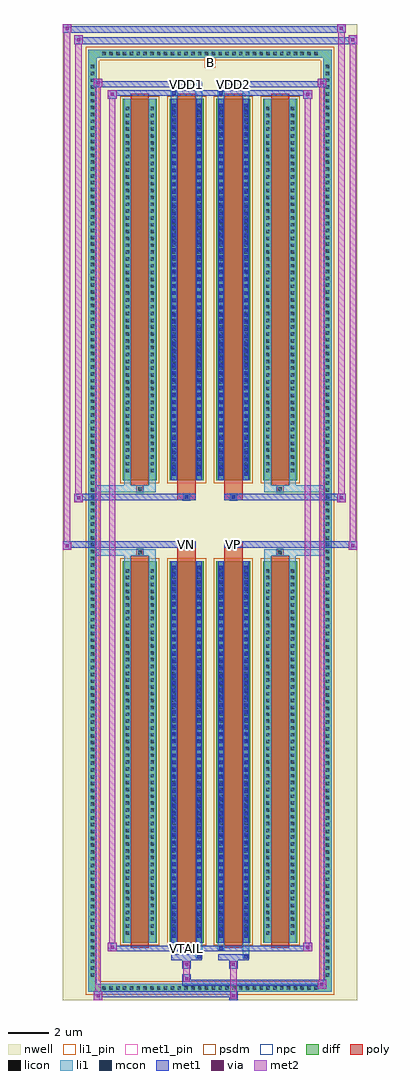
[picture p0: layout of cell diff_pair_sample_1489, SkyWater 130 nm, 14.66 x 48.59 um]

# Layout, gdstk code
import gdstk
lib = gdstk.Library(unit=1e-6, precision=5e-09)
def R(c, l, rs):  # rectangles x0, y0, x1, y1
    for r in rs: c.add(gdstk.rectangle(r[:2], r[2:], *l))
def A(c, l, x, y, w, h, nx, ny, dx, dy):  # array of equal rectangles
    R(c, l, [(x+i*dx, y+j*dy, x+i*dx+w, y+j*dy+h) for i in range(nx) for j in range(ny)])
def P(c, l, *ps):  # polygons
    for p in ps: c.add(gdstk.Polygon(p, *l))
nwell = (64, 20)
diff = (65, 20)
poly = (66, 20)
licon = (66, 44)
li1_pin = (67, 16)
li1 = (67, 20)
mcon = (67, 44)
met1_pin = (68, 16)
met1 = (68, 20)
via = (68, 44)
met2 = (69, 20)
psdm = (94, 20)
npc = (95, 20)

diff_pair_sample_1489 = lib.new_cell('diff_pair_sample_1489')
R(diff_pair_sample_1489, nwell, [(-7.33,-23.86,7.33,24.73), (-4.65,-22.05,-0.01,-0.825), (0.01,-22.05,4.65,-0.825), (-4.65,0.825,-0.01,22.05), (0.01,0.825,4.65,22.05)])
A(diff_pair_sample_1489, diff, -5.475, -23.46, 0.41, 0.41, 32, 2, 0.34, 46.51)
A(diff_pair_sample_1489, diff, -6.06, -22.815, 0.41, 0.41, 1, 134, 0, 0.34)
A(diff_pair_sample_1489, diff, 5.65, -22.815, 0.41, 0.41, 1, 134, 0, 0.34)
A(diff_pair_sample_1489, diff, -4.34, -21.005, 1.69, 19, 4, 2, 2.33, 23.01)
R(diff_pair_sample_1489, diff, [(-5.475,-23.46,5.475,-23.05), (-6.06,-22.815,-5.65,22.815), (5.65,-22.815,6.06,22.815), (-5.475,23.05,5.475,23.46)])
P(diff_pair_sample_1489, diff, [(6.06,23.46),(-6.06,23.46),(-6.06,-23.05),(-5.65,-23.05),(-5.65,23.05),(5.65,23.05),(5.65,-23.05),(-5.65,-23.05),(-6.06,-23.05),(-6.06,-23.46),(6.06,-23.46)])
A(diff_pair_sample_1489, poly, -3.95, -21.255, 0.91, 19.5, 4, 2, 2.33, 23.01)
R(diff_pair_sample_1489, poly, [(-3.66,-1.755,-3.33,-1.425), (-3.66,-1.755,-3.33,-1.425), (-1.62,-1.755,-0.71,-1.355), (0.71,-1.755,1.62,-1.355), (3.33,-1.755,3.66,-1.425), (3.33,-1.755,3.66,-1.425), (-1.62,-1.355,-0.71,-1.025), (-1.33,-1.355,-1,-1.025), (0.71,-1.355,1.62,-1.025), (1,-1.355,1.33,-1.025), (-1.62,1.025,-0.71,1.355), (-1.33,1.025,-1,1.355), (0.71,1.025,1.62,1.355), (1,1.025,1.33,1.355), (-1.62,1.355,-0.71,1.755), (0.71,1.355,1.62,1.755), (-3.66,1.425,-3.33,1.755), (-3.66,1.425,-3.33,1.755), (3.33,1.425,3.66,1.755), (3.33,1.425,3.66,1.755)])
A(diff_pair_sample_1489, licon, -5.355, -23.34, 0.17, 0.17, 32, 2, 0.34, 46.51)
A(diff_pair_sample_1489, licon, -5.94, -22.695, 0.17, 0.17, 1, 134, 0, 0.34)
A(diff_pair_sample_1489, licon, 5.77, -22.695, 0.17, 0.17, 1, 134, 0, 0.34)
A(diff_pair_sample_1489, licon, -4.2, -20.6, 0.17, 0.17, 1, 54, 0, 0.34)
A(diff_pair_sample_1489, licon, -2.96, -20.6, 0.17, 0.17, 1, 54, 0, 0.34)
A(diff_pair_sample_1489, licon, -1.87, -20.6, 0.17, 0.17, 1, 54, 0, 0.34)
A(diff_pair_sample_1489, licon, -0.63, -20.6, 0.17, 0.17, 1, 54, 0, 0.34)
A(diff_pair_sample_1489, licon, 0.46, -20.6, 0.17, 0.17, 1, 54, 0, 0.34)
A(diff_pair_sample_1489, licon, 1.7, -20.6, 0.17, 0.17, 1, 54, 0, 0.34)
A(diff_pair_sample_1489, licon, 2.79, -20.6, 0.17, 0.17, 1, 54, 0, 0.34)
A(diff_pair_sample_1489, licon, 4.03, -20.6, 0.17, 0.17, 1, 54, 0, 0.34)
A(diff_pair_sample_1489, licon, -4.2, 2.41, 0.17, 0.17, 1, 54, 0, 0.34)
A(diff_pair_sample_1489, licon, -2.96, 2.41, 0.17, 0.17, 1, 54, 0, 0.34)
A(diff_pair_sample_1489, licon, -1.87, 2.41, 0.17, 0.17, 1, 54, 0, 0.34)
A(diff_pair_sample_1489, licon, -0.63, 2.41, 0.17, 0.17, 1, 54, 0, 0.34)
A(diff_pair_sample_1489, licon, 0.46, 2.41, 0.17, 0.17, 1, 54, 0, 0.34)
A(diff_pair_sample_1489, licon, 1.7, 2.41, 0.17, 0.17, 1, 54, 0, 0.34)
A(diff_pair_sample_1489, licon, 2.79, 2.41, 0.17, 0.17, 1, 54, 0, 0.34)
A(diff_pair_sample_1489, licon, 4.03, 2.41, 0.17, 0.17, 1, 54, 0, 0.34)
R(diff_pair_sample_1489, licon, [(-3.58,-1.675,-3.41,-1.505), (3.41,-1.675,3.58,-1.505), (-1.25,-1.275,-1.08,-1.105), (1.08,-1.275,1.25,-1.105), (-1.25,1.105,-1.08,1.275), (1.08,1.105,1.25,1.275), (-3.58,1.505,-3.41,1.675), (3.41,1.505,3.58,1.675)])
R(diff_pair_sample_1489, li1_pin, [(-0.25,22.55,0.25,23.05)])
A(diff_pair_sample_1489, li1, -5.435, -23.42, 0.33, 0.33, 32, 2, 0.34, 46.51)
A(diff_pair_sample_1489, li1, -6.02, -22.775, 0.33, 0.33, 1, 134, 0, 0.34)
A(diff_pair_sample_1489, li1, 5.69, -22.775, 0.33, 0.33, 1, 134, 0, 0.34)
A(diff_pair_sample_1489, li1, -1.87, -20.77, 0.17, 0.17, 1, 52, 0, 0.36)
A(diff_pair_sample_1489, li1, -0.63, -20.77, 0.17, 0.17, 1, 52, 0, 0.36)
A(diff_pair_sample_1489, li1, 0.46, -20.77, 0.17, 0.17, 1, 52, 0, 0.36)
A(diff_pair_sample_1489, li1, 1.7, -20.77, 0.17, 0.17, 1, 52, 0, 0.36)
A(diff_pair_sample_1489, li1, -4.28, -20.68, 0.33, 0.33, 1, 54, 0, 0.34)
A(diff_pair_sample_1489, li1, -3.04, -20.68, 0.33, 0.33, 1, 54, 0, 0.34)
A(diff_pair_sample_1489, li1, -1.95, -20.68, 0.33, 0.33, 1, 54, 0, 0.34)
A(diff_pair_sample_1489, li1, -0.71, -20.68, 0.33, 0.33, 1, 54, 0, 0.34)
A(diff_pair_sample_1489, li1, 0.38, -20.68, 0.33, 0.33, 1, 54, 0, 0.34)
A(diff_pair_sample_1489, li1, 1.62, -20.68, 0.33, 0.33, 1, 54, 0, 0.34)
A(diff_pair_sample_1489, li1, 2.71, -20.68, 0.33, 0.33, 1, 54, 0, 0.34)
A(diff_pair_sample_1489, li1, 3.95, -20.68, 0.33, 0.33, 1, 54, 0, 0.34)
A(diff_pair_sample_1489, li1, -1.87, 2.24, 0.17, 0.17, 1, 52, 0, 0.36)
A(diff_pair_sample_1489, li1, -0.63, 2.24, 0.17, 0.17, 1, 52, 0, 0.36)
A(diff_pair_sample_1489, li1, 0.46, 2.24, 0.17, 0.17, 1, 52, 0, 0.36)
A(diff_pair_sample_1489, li1, 1.7, 2.24, 0.17, 0.17, 1, 52, 0, 0.36)
A(diff_pair_sample_1489, li1, -4.28, 2.33, 0.33, 0.33, 1, 54, 0, 0.34)
A(diff_pair_sample_1489, li1, -3.04, 2.33, 0.33, 0.33, 1, 54, 0, 0.34)
A(diff_pair_sample_1489, li1, -1.95, 2.33, 0.33, 0.33, 1, 54, 0, 0.34)
A(diff_pair_sample_1489, li1, -0.71, 2.33, 0.33, 0.33, 1, 54, 0, 0.34)
A(diff_pair_sample_1489, li1, 0.38, 2.33, 0.33, 0.33, 1, 54, 0, 0.34)
A(diff_pair_sample_1489, li1, 1.62, 2.33, 0.33, 0.33, 1, 54, 0, 0.34)
A(diff_pair_sample_1489, li1, 2.71, 2.33, 0.33, 0.33, 1, 54, 0, 0.34)
A(diff_pair_sample_1489, li1, 3.95, 2.33, 0.33, 0.33, 1, 54, 0, 0.34)
R(diff_pair_sample_1489, li1, [(-6.06,-23.46,-5.65,-23.05), (-6.06,-23.46,-5.65,-23.05), (-5.65,-23.46,5.65,-23.05), (5.65,-23.46,6.06,-23.05), (5.65,-23.46,6.06,-23.05), (-6.06,-23.05,-5.65,23.05), (5.65,-23.05,6.06,23.05), (-0.71,-21.81,-0.38,-21.005), (-0.63,-21.81,-0.46,-21.64), (1.62,-21.81,1.95,-21.005), (1.7,-21.81,1.87,-21.64), (-1.95,-21.38,-1.62,-21.005), (-1.87,-21.38,-1.7,-21.21), (0.38,-21.38,0.71,-21.005), (0.46,-21.38,0.63,-21.21), (-4.28,-21.005,-3.95,-2.005), (-3.04,-21.005,-2.71,-2.005), (-1.95,-21.005,-1.62,-2.005), (-0.71,-21.005,-0.38,-2.005), (0.38,-21.005,0.71,-2.005), (1.62,-21.005,1.95,-2.005), (2.71,-21.005,3.04,-2.005), (3.95,-21.005,4.28,-2.005), (-1.87,-20.77,-1.7,-2.24), (-0.63,-20.77,-0.46,-2.24), (0.46,-20.77,0.63,-2.24), (1.7,-20.77,1.87,-2.24), (-4.28,-2.005,-3.95,-1.425), (-3.04,-2.005,-2.71,-1.425), (2.71,-2.005,3.04,-1.425), (3.95,-2.005,4.28,-1.425), (-6.06,-1.755,-3.66,-1.425), (-4.28,-1.755,-3.66,-1.425), (-3.66,-1.755,-3.33,-1.425), (-3.33,-1.755,-2.71,-1.425), (2.71,-1.755,3.33,-1.425), (3.33,-1.755,3.66,-1.425), (3.33,-1.755,6.06,-1.425), (3.66,-1.755,4.28,-1.425), (-1.33,-1.355,-1,-1.025), (1,-1.355,1.33,-1.025), (-1.33,1.025,-1,1.355), (1,1.025,1.33,1.355), (-6.06,1.425,-3.66,1.755), (-4.28,1.425,-3.66,1.755), (-4.28,1.425,-3.95,2.005), (-3.66,1.425,-3.33,1.755), (-3.33,1.425,-2.71,1.755), (-3.04,1.425,-2.71,2.005), (2.71,1.425,3.33,1.755), (2.71,1.425,3.04,2.005), (3.33,1.425,3.66,1.755), (3.33,1.425,6.06,1.755), (3.66,1.425,4.28,1.755), (3.95,1.425,4.28,2.005), (-4.28,2.005,-3.95,21.005), (-3.04,2.005,-2.71,21.005), (-1.95,2.005,-1.62,21.005), (-0.71,2.005,-0.38,21.005), (0.38,2.005,0.71,21.005), (1.62,2.005,1.95,21.005), (2.71,2.005,3.04,21.005), (3.95,2.005,4.28,21.005), (-1.87,2.24,-1.7,20.77), (-0.63,2.24,-0.46,20.77), (0.46,2.24,0.63,20.77), (1.7,2.24,1.87,20.77), (-1.95,21.005,-1.62,21.38), (-0.71,21.005,-0.38,21.81), (0.38,21.005,0.71,21.38), (1.62,21.005,1.95,21.81), (-1.87,21.21,-1.7,21.38), (0.46,21.21,0.63,21.38), (-0.63,21.64,-0.46,21.81), (1.7,21.64,1.87,21.81), (-6.06,23.05,-5.65,23.46), (-6.06,23.05,-5.65,23.46), (-5.65,23.05,5.65,23.46), (5.65,23.05,6.06,23.46), (5.65,23.05,6.06,23.46)])
A(diff_pair_sample_1489, mcon, -1.87, -20.77, 0.17, 0.17, 1, 52, 0, 0.36)
A(diff_pair_sample_1489, mcon, -0.63, -20.77, 0.17, 0.17, 1, 52, 0, 0.36)
A(diff_pair_sample_1489, mcon, 0.46, -20.77, 0.17, 0.17, 1, 52, 0, 0.36)
A(diff_pair_sample_1489, mcon, 1.7, -20.77, 0.17, 0.17, 1, 52, 0, 0.36)
A(diff_pair_sample_1489, mcon, -1.87, 2.24, 0.17, 0.17, 1, 52, 0, 0.36)
A(diff_pair_sample_1489, mcon, -0.63, 2.24, 0.17, 0.17, 1, 52, 0, 0.36)
A(diff_pair_sample_1489, mcon, 0.46, 2.24, 0.17, 0.17, 1, 52, 0, 0.36)
A(diff_pair_sample_1489, mcon, 1.7, 2.24, 0.17, 0.17, 1, 52, 0, 0.36)
R(diff_pair_sample_1489, mcon, [(-0.63,-21.81,-0.46,-21.64), (1.7,-21.81,1.87,-21.64), (-1.87,-21.38,-1.7,-21.21), (0.46,-21.38,0.63,-21.21), (-1.25,-1.275,-1.08,-1.105), (1.08,-1.275,1.25,-1.105), (-1.25,1.105,-1.08,1.275), (1.08,1.105,1.25,1.275), (-1.87,21.21,-1.7,21.38), (0.46,21.21,0.63,21.38), (-0.63,21.64,-0.46,21.81), (1.7,21.64,1.87,21.81)])
R(diff_pair_sample_1489, met1_pin, [(-1.3,-21.42,-1.03,-21.15), (-1.3,-1.295,-1.03,-1.025), (1.03,-1.295,1.3,-1.025), (-1.3,21.6,-1.03,21.87), (1.03,21.6,1.3,21.87)])
A(diff_pair_sample_1489, met1, -1.93, -20.83, 0.29, 0.29, 1, 52, 0, 0.36)
A(diff_pair_sample_1489, met1, -0.69, -20.83, 0.29, 0.29, 1, 52, 0, 0.36)
A(diff_pair_sample_1489, met1, 0.4, -20.83, 0.29, 0.29, 1, 52, 0, 0.36)
A(diff_pair_sample_1489, met1, 1.64, -20.83, 0.29, 0.29, 1, 52, 0, 0.36)
A(diff_pair_sample_1489, met1, -1.93, 2.18, 0.29, 0.29, 1, 52, 0, 0.36)
A(diff_pair_sample_1489, met1, -0.69, 2.18, 0.29, 0.29, 1, 52, 0, 0.36)
A(diff_pair_sample_1489, met1, 0.4, 2.18, 0.29, 0.29, 1, 52, 0, 0.36)
A(diff_pair_sample_1489, met1, 1.64, 2.18, 0.29, 0.29, 1, 52, 0, 0.36)
R(diff_pair_sample_1489, met1, [(-5.79,-23.86,-5.36,-23.43), (0.95,-23.86,1.38,-23.43), (-5.79,-23.72,1.38,-23.43), (5.36,-23.29,5.79,-22.86), (-1.38,-23.15,5.79,-22.86), (-1.38,-23.01,-0.95,-22.58), (-1.38,-22.3,-0.95,-21.87), (0.95,-22.3,1.38,-21.87), (-1.93,-21.87,-0.4,-21.58), (-0.69,-21.87,-0.4,-21.58), (0.4,-21.87,1.93,-21.58), (1.64,-21.87,1.93,-21.58), (-5.08,-21.44,-4.65,-21.01), (-5.08,-21.44,-1.93,-21.15), (-1.93,-21.44,-1.64,-21.15), (-1.93,-21.44,-0.4,-21.15), (-0.4,-21.44,0.4,-21.15), (0.4,-21.44,0.69,-21.15), (0.4,-21.44,1.93,-21.15), (1.93,-21.44,5.08,-21.15), (4.65,-21.44,5.08,-21.01), (-1.93,-21.005,-1.64,-2.005), (-0.69,-21.005,-0.4,-2.005), (0.4,-21.005,0.69,-2.005), (1.64,-21.005,1.93,-2.005), (-7.33,-1.455,-6.9,-1.025), (6.9,-1.455,7.33,-1.025), (-7.33,-1.355,-0.71,-1.025), (-1.62,-1.355,-0.71,-1.025), (0.71,-1.355,1.62,-1.025), (0.71,-1.355,7.33,-1.025), (-1.31,-1.335,-1.02,-1.045), (1.02,-1.335,1.31,-1.045), (-6.76,0.925,-6.33,1.355), (6.33,0.925,6.76,1.355), (-6.76,1.025,-1.62,1.355), (-1.62,1.025,-0.71,1.355), (0.71,1.025,1.62,1.355), (1.62,1.025,6.76,1.355), (-1.31,1.045,-1.02,1.335), (1.02,1.045,1.31,1.335), (-1.93,2.005,-1.64,21.005), (-0.69,2.005,-0.4,21.005), (0.4,2.005,0.69,21.005), (1.64,2.005,1.93,21.005), (-5.08,21.01,-4.65,21.44), (4.65,21.01,5.08,21.44), (-5.08,21.15,-1.93,21.44), (-1.93,21.15,-1.64,21.44), (-1.93,21.15,-0.4,21.44), (-0.4,21.15,0.4,21.44), (0.4,21.15,0.69,21.44), (0.4,21.15,1.93,21.44), (1.93,21.15,5.08,21.44), (-5.79,21.58,-5.36,22.01), (-5.79,21.58,-1.93,21.87), (-1.93,21.58,-0.4,21.87), (-0.69,21.58,-0.4,21.87), (0.4,21.58,1.93,21.87), (1.64,21.58,1.93,21.87), (1.93,21.58,5.79,21.87), (5.36,21.58,5.79,22.01), (-6.76,23.73,-6.33,24.16), (-6.76,23.73,-4.65,24.06), (-4.65,23.73,4.65,24.06), (4.65,23.73,7.33,24.06), (6.9,23.73,7.33,24.16), (-7.33,24.3,-6.9,24.73), (-7.33,24.3,-4.65,24.63), (-4.65,24.3,4.65,24.63), (4.65,24.3,6.76,24.63), (6.33,24.3,6.76,24.73)])
R(diff_pair_sample_1489, via, [(-5.65,-23.72,-5.5,-23.57), (1.09,-23.72,1.24,-23.57), (5.5,-23.15,5.65,-23), (-1.24,-22.87,-1.09,-22.72), (-1.24,-22.16,-1.09,-22.01), (1.09,-22.16,1.24,-22.01), (-4.94,-21.3,-4.79,-21.15), (4.79,-21.3,4.94,-21.15), (-7.19,-1.315,-7.04,-1.165), (7.04,-1.315,7.19,-1.165), (-6.62,1.065,-6.47,1.215), (6.47,1.065,6.62,1.215), (-4.94,21.15,-4.79,21.3), (4.79,21.15,4.94,21.3), (-5.65,21.72,-5.5,21.87), (5.5,21.72,5.65,21.87), (-6.62,23.87,-6.47,24.02), (7.04,23.87,7.19,24.02), (-7.19,24.44,-7.04,24.59), (6.47,24.44,6.62,24.59)])
R(diff_pair_sample_1489, met2, [(-5.79,-23.86,-5.36,-23.43), (-5.72,-23.86,-5.43,22.01), (-5.43,-23.86,-5.36,-23.43), (-5.74,-23.81,-5.41,-23.48), (1,-23.81,1.33,-23.48), (1,-23.48,1.33,-22.25), (5.36,-23.29,5.79,-22.86), (5.43,-23.29,5.72,22.01), (5.72,-23.29,5.79,-22.86), (5.41,-23.24,5.74,-22.91), (-1.33,-22.96,-1,-22.63), (-1.33,-22.63,-1,-22.25), (-1.33,-22.25,-1,-21.92), (1,-22.25,1.33,-21.92), (-5.08,-21.44,-4.65,-21.01), (-5.01,-21.44,-4.72,21.44), (-4.72,-21.44,-4.65,-21.01), (4.65,-21.44,5.08,-21.01), (4.72,-21.44,5.01,21.44), (5.01,-21.44,5.08,-21.01), (-5.03,-21.39,-4.7,-21.06), (4.7,-21.39,5.03,-21.06), (-7.33,-1.455,-6.9,-1.025), (-7.28,-1.455,-6.95,24.73), (-6.95,-1.455,-6.9,-1.025), (6.9,-1.455,7.33,-1.025), (6.95,-1.455,7.28,24.16), (7.28,-1.455,7.33,-1.025), (-7.28,-1.405,-6.95,-1.075), (6.95,-1.405,7.28,-1.075), (-6.76,0.925,-6.33,1.355), (-6.71,0.925,-6.38,24.16), (-6.38,0.925,-6.33,1.355), (6.33,0.925,6.76,1.355), (6.38,0.925,6.71,24.73), (6.71,0.925,6.76,1.355), (-6.71,0.975,-6.38,1.305), (6.38,0.975,6.71,1.305), (-5.08,21.01,-4.65,21.44), (-4.72,21.01,-4.65,21.44), (4.65,21.01,5.08,21.44), (5.01,21.01,5.08,21.44), (-5.03,21.06,-4.7,21.39), (4.7,21.06,5.03,21.39), (-5.79,21.58,-5.36,22.01), (-5.43,21.58,-5.36,22.01), (5.36,21.58,5.79,22.01), (5.72,21.58,5.79,22.01), (-5.74,21.63,-5.41,21.96), (5.41,21.63,5.74,21.96), (-6.76,23.73,-6.33,24.16), (-6.38,23.73,-6.33,24.16), (6.9,23.73,7.33,24.16), (7.28,23.73,7.33,24.16), (-6.71,23.78,-6.38,24.11), (6.95,23.78,7.28,24.11), (-7.33,24.3,-6.9,24.73), (-6.95,24.3,-6.9,24.73), (6.33,24.3,6.76,24.73), (6.71,24.3,6.76,24.73), (-7.28,24.35,-6.95,24.68), (6.38,24.35,6.71,24.68)])
A(diff_pair_sample_1489, psdm, -4.47, -21.135, 1.95, 19.26, 4, 2, 2.33, 23.01)
P(diff_pair_sample_1489, psdm, [(6.19,23.59),(-6.19,23.59),(-6.19,-22.92),(-5.52,-22.92),(-5.52,22.92),(5.52,22.92),(5.52,-22.92),(-5.52,-22.92),(-6.19,-22.92),(-6.19,-23.59),(6.19,-23.59)])
R(diff_pair_sample_1489, npc, [(-3.68,-1.775,-3.31,-1.405), (3.31,-1.775,3.68,-1.405), (-1.35,-1.375,-0.98,-1.005), (0.98,-1.375,1.35,-1.005), (-1.35,1.005,-0.98,1.375), (0.98,1.005,1.35,1.375), (-3.68,1.405,-3.31,1.775), (3.31,1.405,3.68,1.775)])
diff_pair_sample_1489.add(gdstk.Label('VTAIL', (-1.165,-21.285), layer=68, texttype=5))
diff_pair_sample_1489.add(gdstk.Label('VN', (-1.165,-1.16), layer=68, texttype=5))
diff_pair_sample_1489.add(gdstk.Label('VP', (1.165,-1.16), layer=68, texttype=5))
diff_pair_sample_1489.add(gdstk.Label('B', (0,22.8), layer=67, texttype=5))
diff_pair_sample_1489.add(gdstk.Label('VDD2', (1.165,21.735), layer=68, texttype=5))
diff_pair_sample_1489.add(gdstk.Label('VDD1', (-1.165,21.735), layer=68, texttype=5))

lib.write_gds('diff_pair_sample_1489.gds')
